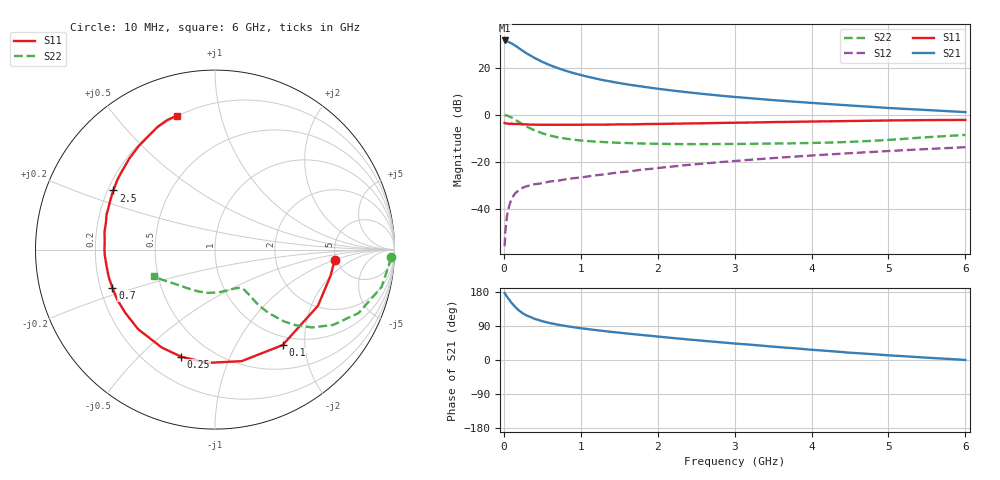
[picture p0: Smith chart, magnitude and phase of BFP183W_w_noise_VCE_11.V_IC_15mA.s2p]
! Infineon Technologies  Discrete & RF Semiconductors
! BFP183W
! VCE =  11. V,  IC =  15 mA
! Common Emitter S-Parameters:  Jan 2017
# GHz  S  MA  R  50
!  f  S11  S21  S12  S22
! GHz  MAG  ANG  MAG  ANG  MAG  ANG  MAG  ANG
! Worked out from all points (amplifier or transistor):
!   77 points, 10 MHz to 6 GHz, reference 50 ohm
!   highest |S21| = 31.6 dB at 10 MHz (marker M1)
!   |S21| within 3 dB of that: start of sweep to 183.6 MHz
!   unconditionally stable (mu >= 1): 1.434 GHz to 3.761 GHz
!   at 130 MHz: K = 0.19, MSG = 32.0 dB, |S12| = -34.3 dB
!   at 2.2 GHz: K = 1.06, MAG = 14.6 dB, |S12| = -22.0 dB
!   at 6 GHz: K = 0.86, MSG = 7.5 dB, |S12| = -13.8 dB
!   lowest NFmin = 1.05 dB at 450 MHz
!   S11 on the Smith chart (normalised r, x): 10 MHz: 4.85, -0.98; 100 MHz: 0.86, -1.58; 250 MHz: 0.34, -0.68; 700 MHz: 0.25, -0.17; 2.5 GHz: 0.22, +0.26; 6 GHz: 0.20, +0.74
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0.01  0.6697 -4.8  37.97 176.9  0.0016 75.9  0.9809 -2.5
0.02  0.6601 -12.8  37.34 173.2  0.0033 92.1  0.9721 -5.2
0.05  0.6534 -28.7  36.06 164.5  0.0085 73.7  0.9509 -12.7
0.1  0.6518 -54.7  33.03 150.7  0.016 67.7  0.875 -23.8
0.15  0.639 -76.6  29.34 139.4  0.0216 57.7  0.7809 -32.5
0.2  0.6325 -93.7  25.75 130.1  0.0251 53.0  0.6935 -38.7
0.25  0.6259 -107.5  22.66 122.7  0.0283 48.2  0.6172 -43.1
0.3  0.6211 -118.5  20 117.1  0.0302 45.6  0.5542 -46.2
0.4  0.6165 -134.0  16.1 108.5  0.0332 43.4  0.4628 -49.8
0.5  0.6116 -145.0  13.29 102.3  0.0349 42.3  0.4027 -51.6
0.6  0.6119 -153.2  11.32 97.4  0.0381 43.0  0.3604 -52.4
0.7  0.6098 -159.6  9.8 93.4  0.0393 43.9  0.3311 -52.6
0.9  0.6108 -169.8  7.715 86.7  0.0445 46.1  0.2945 -53.5
1.1  0.615 -177.2  6.376 81.4  0.0488 48.6  0.2748 -54.2
1.3  0.6158 176.5  5.41 76.5  0.0538 50.1  0.262 -55.6
1.5  0.6232 171.3  4.712 72.1  0.0594 51.8  0.2524 -57.8
2.1  0.6397 157.4  3.409 60.0  0.0764 54.1  0.2393 -67.4
2.5  0.6548 149.8  2.869 52.4  0.0886 54.2  0.237 -76.0
3.1  0.6784 139.6  2.316 42.0  0.1069 53.2  0.2395 -90.0
4.1  0.7196 125.0  1.739 25.6  0.1388 49.7  0.2527 -114.8
5.1  0.7577 114.0  1.362 11.2  0.1723 44.7  0.2987 -141.0
6  0.7762 105.8  1.136 0.1  0.2036 39.4  0.3724 -156.4
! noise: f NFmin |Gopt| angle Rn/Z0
0.45  1.05  0.15  158  0.1
0.9  1.09  0.21  163  0.09
1.9  1.56  0.39  -168  0.08
2.4  1.8  0.44  -161  0.11
